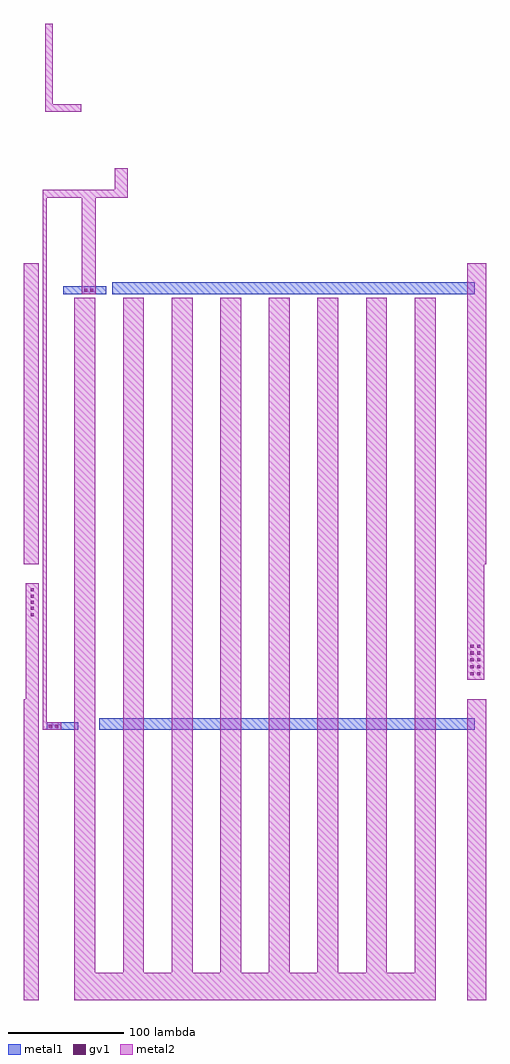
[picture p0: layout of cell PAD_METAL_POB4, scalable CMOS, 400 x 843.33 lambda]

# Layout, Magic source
magic
tech scmos
magscale 1 6
<< metal1 >>
rect 207 3660 429 3700
rect 459 3660 2340 3720
rect 120 1400 284 1440
rect 393 1400 2340 1460
<< metal2 >>
rect 112 4644 152 5060
rect 112 4606 298 4644
rect 472 4200 540 4312
rect 100 4160 540 4200
rect 0 2260 80 3820
rect 12 1560 80 2160
rect 0 0 80 1560
rect 100 1440 120 4160
rect 302 3660 374 4160
rect 100 1400 195 1440
rect 264 140 372 3640
rect 516 140 624 3640
rect 768 140 876 3640
rect 1020 140 1128 3640
rect 1272 140 1380 3640
rect 1524 140 1632 3640
rect 1776 140 1884 3640
rect 2028 140 2136 3640
rect 2300 2260 2400 3820
rect 2300 1660 2388 2260
rect 264 0 2136 140
rect 2300 0 2400 1560
use VIA1  VIA1_0
transform 1 0 354 0 1 3680
box -8 -8 8 8
use VIA1  VIA1_1
transform 1 0 322 0 1 3680
box -8 -8 8 8
use VIA1  VIA1_2
array 0 1 32 0 0 0
transform 1 0 140 0 1 1420
box -8 -8 8 8
use VIA1  VIA1_3
array 0 1 36 0 4 36
transform 1 0 2325 0 1 1691
box -8 -8 8 8
use VIA1  VIA1_4
array 0 0 0 0 4 32
transform 1 0 45 0 1 1998
box -8 -8 8 8
<< end >>

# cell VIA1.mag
magic
tech scmos
magscale 1 3
<< gv1 >>
rect -4 -4 4 4
<< end >>
